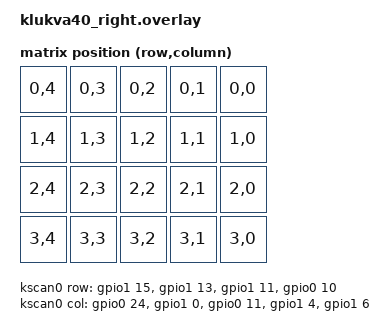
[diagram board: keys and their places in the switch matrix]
#include <dt-bindings/zmk/matrix_transform.h>
#include <dt-bindings/zmk/mouse.h>

/ {
    chosen {
        zmk,kscan = &kscan0;
        zmk,matrix_transform = &default_transform;
    };

    /* Матрица клавиатуры */
    kscan0: kscan {
        compatible = "zmk,kscan-gpio-matrix";
        diode-direction = "col2row"; 

        row-gpios
            = <&gpio1 15 (GPIO_ACTIVE_HIGH | GPIO_PULL_DOWN)>
            , <&gpio1 13 (GPIO_ACTIVE_HIGH | GPIO_PULL_DOWN)>
            , <&gpio1 11 (GPIO_ACTIVE_HIGH | GPIO_PULL_DOWN)>
            , <&gpio0 10 (GPIO_ACTIVE_HIGH | GPIO_PULL_DOWN)>
            ;

        col-gpios
            = <&gpio0 24 GPIO_ACTIVE_HIGH>
            , <&gpio1 0  GPIO_ACTIVE_HIGH>
            , <&gpio0 11 GPIO_ACTIVE_HIGH>
            , <&gpio1 4  GPIO_ACTIVE_HIGH>
            , <&gpio1 6  GPIO_ACTIVE_HIGH>
            ;
    };

    default_transform: keymap_transform_0 {
        compatible = "zmk,matrix-transform";
        columns = <5>;
        rows = <4>;
        map = <
            RC(0,4) RC(0,3) RC(0,2) RC(0,1) RC(0,0)   
            RC(1,4) RC(1,3) RC(1,2) RC(1,1) RC(1,0)
            RC(2,4) RC(2,3) RC(2,2) RC(2,1) RC(2,0)
            RC(3,4) RC(3,3) RC(3,2) RC(3,1) RC(3,0)
        >;
    };
};

  #define MOUSE_PS2_PIN_SCL_PRO_MICRO <&gpio0 6 GPIO_ACTIVE_HIGH>
    #define MOUSE_PS2_PIN_SDA_PRO_MICRO <&gpio0 8 GPIO_ACTIVE_HIGH>
    //#define MOUSE_PS2_PIN_RST_PRO_MICRO <&gpio0 9 GPIO_ACTIVE_HIGH>

   #define MOUSE_PS2_PIN_SDA_PINCTRL <NRF_PSEL(UART_RX, 0, 8)>
    #define MOUSE_PS2_UART_BAUD_RATE <14400>
#define MOUSE_PS2_PIN_UNEXPOSED_TX <NRF_PSEL(UART_TX, 0, 31)>
#define MOUSE_PS2_PIN_UNEXPOSED_RX <NRF_PSEL(UART_RX, 0, 31)>

&pinctrl {
	// This pinctrl state is used for receiving
	// For `UART_TX`, set an unused and unexposed pin
	// For `UART_RX`, set the PS/2 SDA pin number
	uart0_ps2_default: uart0_ps2_default {
		group1 {
			psels = MOUSE_PS2_PIN_UNEXPOSED_TX,
					MOUSE_PS2_PIN_SDA_PINCTRL;
		};
	};

	// Set this to the same pins as uart0_ps2_default
	uart0_ps2_sleep: uart0_ps2_sleep {
		group1 {
			psels = MOUSE_PS2_PIN_UNEXPOSED_TX,
					MOUSE_PS2_PIN_SDA_PINCTRL;
			low-power-enable;
		};
	};

	// The nrf52 UART controller is not compatible with the PS/2
	// transmission frame. So the PS/2 UART driver doesn't use UART for
	// transmissions and instead use GPIO bit-banging.
	//
	// When the driver switches to transmit mode, it frees up the SDA pin by
    // switching the UART controller to unexposed/unused pins.
	//
	// Then it configures the GPIO controller to use the SCL and SDA pins
	uart0_ps2_off: uart0_ps2_off {
		group1 {
			psels = MOUSE_PS2_PIN_UNEXPOSED_TX,
					MOUSE_PS2_PIN_UNEXPOSED_RX;
		};
	};
};

&uart0 {
    status = "okay";
    compatible = "nordic,nrf-uarte";
    current-speed = <14400>;
    pinctrl-0 = <&uart0_ps2_default>;
    pinctrl-1 = <&uart0_ps2_sleep>; // Используйте sleep версию
    pinctrl-names = "default", "sleep";

    uart_ps2: uart_ps2 {
        status = "okay";
        compatible = "uart-ps2";
        scl-gpios = <&gpio0 6 (GPIO_ACTIVE_HIGH | GPIO_PULL_UP)>;
        sda-gpios = <&gpio0 8 (GPIO_ACTIVE_HIGH | GPIO_PULL_UP)>;
    };
};



/ {
    mouse_ps2: mouse_ps2 {
		status = "okay";
        compatible = "zmk,input-mouse-ps2";


	    ps2-device = <&uart_ps2>;



        //rst-gpios = MOUSE_PS2_PIN_RST_PRO_MICRO;

};

    mouse_ps2_input_listener: mouse_ps2_input_listener {
        compatible = "zmk,input-listener-ps2";
        status = "okay";

        device = <&mouse_ps2>;

		// Some of the available settings depend on the keymap. So they
		// are adjusted in...
		// zmk-config/config/includes/mouse_tp.dtsi
    };
}; 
